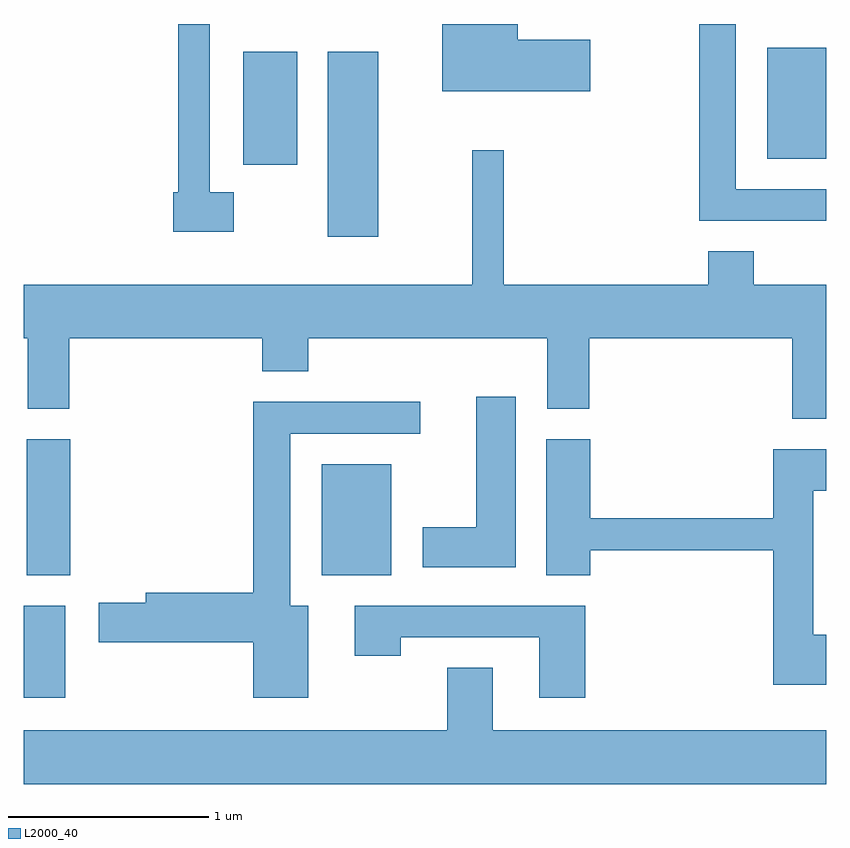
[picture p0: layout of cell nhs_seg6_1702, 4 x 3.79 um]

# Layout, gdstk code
import gdstk
lib = gdstk.Library(unit=1e-6, precision=1e-09)
def R(c, l, rs):  # rectangles x0, y0, x1, y1
    for r in rs: c.add(gdstk.rectangle(r[:2], r[2:], *l))
def P(c, l, *ps):  # polygons
    for p in ps: c.add(gdstk.Polygon(p, *l))
L2000_40 = (2000, 40)

nhs_seg6_1702 = lib.new_cell('nhs_seg6_1702')
R(nhs_seg6_1702, L2000_40, [(235.611,1654.806,235.819,1655.264), (235.626,1655.416,235.844,1656.094), (237.096,1655.416,237.444,1655.969), (237.126,1657.101,237.379,1658.024), (236.706,1657.461,236.974,1658.024), (239.316,1657.491,239.611,1658.044)])
P(nhs_seg6_1702, L2000_40, [(239.611,1657.339),(239.159,1657.339),(239.159,1658.162),(238.976,1658.162),(238.976,1657.181),(239.611,1657.181)],
  [(236.659,1657.324),(236.539,1657.324),(236.539,1658.162),(236.381,1658.162),(236.381,1657.324),(236.356,1657.324),(236.356,1657.126),(236.659,1657.126)],
  [(238.434,1658.084),(238.074,1658.084),(238.074,1658.162),(237.696,1658.162),(237.696,1657.826),(238.434,1657.826)],
  [(239.611,1656.864),(239.249,1656.864),(239.249,1657.029),(239.021,1657.029),(239.021,1656.864),(238.004,1656.864),(238.004,1657.533),(237.846,1657.533),(237.846,1656.864),(235.611,1656.864),(235.611,1656.596),(235.631,1656.596),(235.631,1656.246),(235.839,1656.246),(235.839,1656.596),(236.801,1656.596),(236.801,1656.431),(237.029,1656.431),(237.029,1656.596),(238.221,1656.596),(238.221,1656.246),(238.429,1656.246),(238.429,1656.596),(239.441,1656.596),(239.441,1656.196),(239.611,1656.196)],
  [(238.064,1656.304),(237.866,1656.304),(237.866,1655.654),(237.601,1655.654),(237.601,1655.456),(238.064,1655.456)],
  [(237.029,1655.264),(236.939,1655.264),(236.939,1656.121),(237.588,1656.121),(237.588,1656.279),(236.756,1656.279),(236.756,1655.329),(236.221,1655.329),(236.221,1655.279),(235.986,1655.279),(235.986,1655.081),(236.756,1655.081),(236.756,1654.806),(237.029,1654.806)],
  [(239.611,1655.119),(239.544,1655.119),(239.544,1655.836),(239.611,1655.836),(239.611,1656.044),(239.346,1656.044),(239.346,1655.699),(238.434,1655.699),(238.434,1656.094),(238.216,1656.094),(238.216,1655.416),(238.434,1655.416),(238.434,1655.541),(239.346,1655.541),(239.346,1654.871),(239.611,1654.871)],
  [(238.409,1655.264),(237.261,1655.264),(237.261,1655.016),(237.489,1655.016),(237.489,1655.106),(238.181,1655.106),(238.181,1654.806),(238.409,1654.806)],
  [(239.611,1654.644),(237.949,1654.644),(237.949,1654.954),(237.721,1654.954),(237.721,1654.644),(235.611,1654.644),(235.611,1654.376),(239.611,1654.376)])

lib.write_gds('nhs_seg6_1702.gds')
